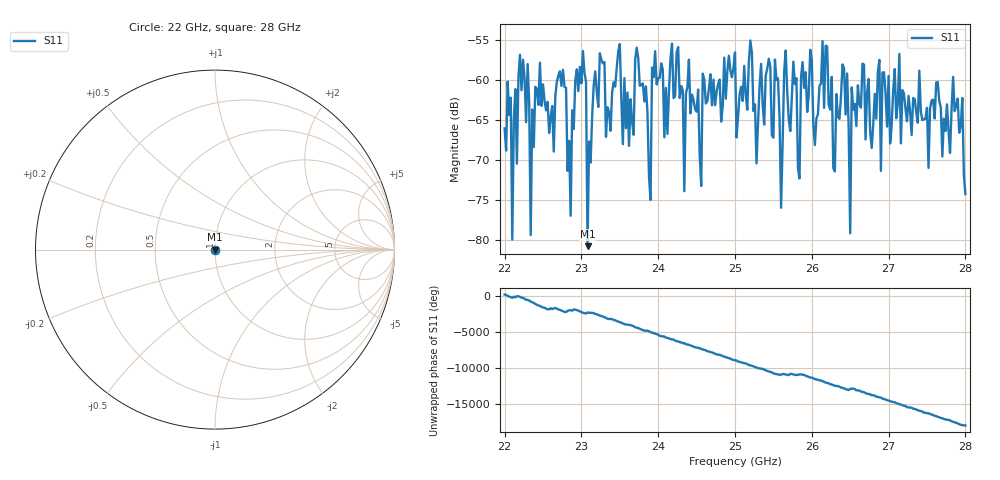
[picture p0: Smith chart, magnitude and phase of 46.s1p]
#  HZ  S  RI  R  50.00
! Rohde & Schwarz ZVA40 4Ports - Version 3.90 - 1145.1110k42 SN: 100403
! Date: 2023-10-04 06:43:28
! Measurement: S12
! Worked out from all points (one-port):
!   301 points, 22 GHz to 28 GHz, reference 50 ohm
!   lowest |S11| = -80.7 dB at 23.08 GHz (marker M1), VSWR 1.00, Z = 50 - j0.00382 ohm
!   |S11| at or under -10 dB: start of sweep to end of sweep
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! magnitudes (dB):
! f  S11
! 22 GHz  -66.1
! 22.08 GHz  -62.2
! 22.1 GHz  -79.9
! 22.3 GHz  -58.0
! 22.34 GHz  -79.3
! 22.46 GHz  -57.9
! 22.76 GHz  -58.8
! 22.86 GHz  -76.9
! 23.02 GHz  -56.4
! 23.08 GHz  -80.7
! 23.18 GHz  -58.9
! 23.5 GHz  -55.5
! 23.9 GHz  -75.0
! 23.92 GHz  -58.5
! 24.26 GHz  -55.9
! 24.34 GHz  -73.9
! 24.4 GHz  -57.5
! 24.56 GHz  -73.2
! 25 GHz  -56.6
! 25.52 GHz  -57.5
! 25.6 GHz  -75.9
! 25.76 GHz  -57.7
! 25.84 GHz  -72.3
! 26.46 GHz  -59.2
! 26.5 GHz  -79.1
! 26.52 GHz  -60.9
! 27.26 GHz  -62.0
! 28 GHz  -74.2
